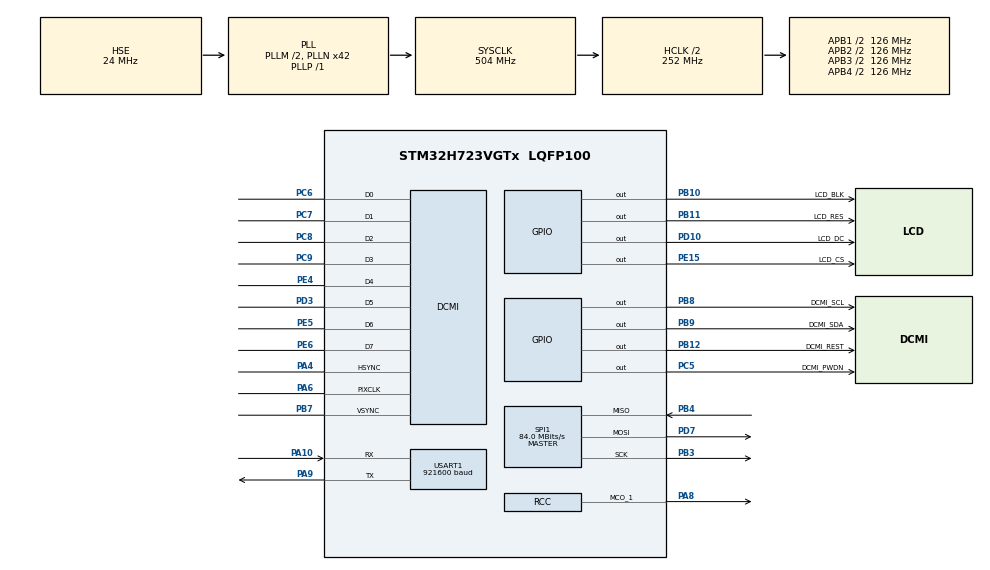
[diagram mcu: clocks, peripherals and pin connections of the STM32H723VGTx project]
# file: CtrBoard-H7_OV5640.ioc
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CORTEX_M7.CPU_DCache=Enabled
CORTEX_M7.CPU_ICache=Enabled
DCMI.JPEGMode=DCMI_JPEG_DISABLE
DCMI.PCKPolarity=DCMI_PCKPOLARITY_RISING
DCMI.VSPolarity=DCMI_VSPOLARITY_LOW
Dma.DCMI.0.Direction=DMA_PERIPH_TO_MEMORY
Dma.DCMI.0.EventEnable=DISABLE
Dma.DCMI.0.FIFOMode=DMA_FIFOMODE_ENABLE
Dma.DCMI.0.FIFOThreshold=DMA_FIFO_THRESHOLD_FULL
Dma.DCMI.0.Instance=DMA1_Stream0
Dma.DCMI.0.MemBurst=DMA_MBURST_SINGLE
Dma.DCMI.0.MemDataAlignment=DMA_MDATAALIGN_WORD
Dma.DCMI.0.MemInc=DMA_MINC_ENABLE
Dma.DCMI.0.Mode=DMA_CIRCULAR
Dma.DCMI.0.PeriphBurst=DMA_PBURST_SINGLE
Dma.DCMI.0.PeriphDataAlignment=DMA_PDATAALIGN_WORD
Dma.DCMI.0.PeriphInc=DMA_PINC_DISABLE
Dma.DCMI.0.Polarity=HAL_DMAMUX_REQ_GEN_RISING
Dma.DCMI.0.Priority=DMA_PRIORITY_HIGH
Dma.DCMI.0.RequestNumber=1
Dma.DCMI.0.SignalID=NONE
Dma.DCMI.0.SyncEnable=DISABLE
Dma.DCMI.0.SyncPolarity=HAL_DMAMUX_SYNC_NO_EVENT
Dma.DCMI.0.SyncRequestNumber=1
Dma.DCMI.0.SyncSignalID=NONE
Dma.Request0=DCMI
Dma.Request1=USART1_TX
Dma.Request2=SPI1_TX
Dma.Request3=USART1_RX
Dma.SPI1_TX.2.Direction=DMA_MEMORY_TO_PERIPH
Dma.SPI1_TX.2.EventEnable=DISABLE
Dma.SPI1_TX.2.FIFOMode=DMA_FIFOMODE_DISABLE
Dma.SPI1_TX.2.Instance=DMA2_Stream1
Dma.SPI1_TX.2.MemDataAlignment=DMA_MDATAALIGN_BYTE
Dma.SPI1_TX.2.MemInc=DMA_MINC_ENABLE
Dma.SPI1_TX.2.Mode=DMA_NORMAL
Dma.SPI1_TX.2.PeriphDataAlignment=DMA_PDATAALIGN_BYTE
Dma.SPI1_TX.2.PeriphInc=DMA_PINC_DISABLE
Dma.SPI1_TX.2.Polarity=HAL_DMAMUX_REQ_GEN_RISING
Dma.SPI1_TX.2.Priority=DMA_PRIORITY_MEDIUM
Dma.SPI1_TX.2.RequestNumber=1
Dma.SPI1_TX.2.SignalID=NONE
Dma.SPI1_TX.2.SyncEnable=DISABLE
Dma.SPI1_TX.2.SyncPolarity=HAL_DMAMUX_SYNC_NO_EVENT
Dma.SPI1_TX.2.SyncRequestNumber=1
Dma.SPI1_TX.2.SyncSignalID=NONE
Dma.USART1_RX.3.Direction=DMA_PERIPH_TO_MEMORY
Dma.USART1_RX.3.EventEnable=DISABLE
Dma.USART1_RX.3.FIFOMode=DMA_FIFOMODE_DISABLE
Dma.USART1_RX.3.Instance=DMA1_Stream3
Dma.USART1_RX.3.MemDataAlignment=DMA_MDATAALIGN_BYTE
Dma.USART1_RX.3.MemInc=DMA_MINC_ENABLE
Dma.USART1_RX.3.Mode=DMA_NORMAL
Dma.USART1_RX.3.PeriphDataAlignment=DMA_PDATAALIGN_BYTE
Dma.USART1_RX.3.PeriphInc=DMA_PINC_DISABLE
Dma.USART1_RX.3.Polarity=HAL_DMAMUX_REQ_GEN_RISING
Dma.USART1_RX.3.Priority=DMA_PRIORITY_LOW
Dma.USART1_RX.3.RequestNumber=1
Dma.USART1_RX.3.SignalID=NONE
Dma.USART1_RX.3.SyncEnable=DISABLE
Dma.USART1_RX.3.SyncPolarity=HAL_DMAMUX_SYNC_NO_EVENT
Dma.USART1_RX.3.SyncRequestNumber=1
Dma.USART1_RX.3.SyncSignalID=NONE
Dma.USART1_TX.1.Direction=DMA_MEMORY_TO_PERIPH
Dma.USART1_TX.1.EventEnable=DISABLE
Dma.USART1_TX.1.FIFOMode=DMA_FIFOMODE_DISABLE
Dma.USART1_TX.1.Instance=DMA1_Stream1
Dma.USART1_TX.1.MemDataAlignment=DMA_MDATAALIGN_BYTE
Dma.USART1_TX.1.MemInc=DMA_MINC_ENABLE
Dma.USART1_TX.1.Mode=DMA_NORMAL
Dma.USART1_TX.1.PeriphDataAlignment=DMA_PDATAALIGN_BYTE
Dma.USART1_TX.1.PeriphInc=DMA_PINC_DISABLE
Dma.USART1_TX.1.Polarity=HAL_DMAMUX_REQ_GEN_RISING
Dma.USART1_TX.1.Priority=DMA_PRIORITY_LOW
Dma.USART1_TX.1.RequestNumber=1
Dma.USART1_TX.1.SignalID=NONE
Dma.USART1_TX.1.SyncEnable=DISABLE
Dma.USART1_TX.1.SyncPolarity=HAL_DMAMUX_SYNC_NO_EVENT
Dma.USART1_TX.1.SyncRequestNumber=1
Dma.USART1_TX.1.SyncSignalID=NONE
Mcu.Family=STM32H7
Mcu.Name=STM32H723VGTx
Mcu.Package=LQFP100
NVIC.DCMI_PSSI_IRQn=true\:0\:0\:false\:false\:true\:true\:true\:true
NVIC.DMA1_Stream0_IRQn=true\:0\:0\:false\:false\:true\:false\:true\:true
NVIC.DMA1_Stream1_IRQn=true\:0\:0\:false\:false\:true\:false\:true\:true
NVIC.DMA1_Stream3_IRQn=true\:0\:0\:false\:false\:true\:false\:true\:true
NVIC.DMA2_Stream1_IRQn=true\:0\:0\:false\:false\:true\:false\:true\:true
NVIC.PriorityGroup=NVIC_PRIORITYGROUP_4
NVIC.SPI1_IRQn=true\:2\:0\:true\:false\:true\:true\:true\:true
PA10.Mode=Asynchronous
PA10.Signal=USART1_RX
PA13(JTMS/SWDIO).Mode=Serial_Wire
PA13(JTMS/SWDIO).Signal=DEBUG_JTMS-SWDIO
PA14(JTCK/SWCLK).Mode=Serial_Wire
PA14(JTCK/SWCLK).Signal=DEBUG_JTCK-SWCLK
PA4.GPIO_Speed=GPIO_SPEED_FREQ_VERY_HIGH
PA4.Mode=Slave_8_bits_External_Synchro
PA4.Signal=DCMI_HSYNC
PA6.GPIO_Speed=GPIO_SPEED_FREQ_VERY_HIGH
PA6.Mode=Slave_8_bits_External_Synchro
PA6.Signal=DCMI_PIXCLK
PA8.Mode=Clock-out-1
PA8.Signal=RCC_MCO_1
PA9.Mode=Asynchronous
PA9.Signal=USART1_TX
PB10.GPIO_Label=LCD_BLK
PB10.Signal=GPIO_Output
PB11.GPIO_Label=LCD_RES
PB11.Signal=GPIO_Output
PB12.GPIO_Label=DCMI_REST
PB12.GPIO_PuPd=GPIO_PULLUP
PB12.GPIO_Speed=GPIO_SPEED_FREQ_VERY_HIGH
PB12.PinState=GPIO_PIN_SET
PB12.Signal=GPIO_Output
PB3(JTDO/TRACESWO).GPIO_PuPd=GPIO_PULLUP
PB3(JTDO/TRACESWO).GPIO_Speed=GPIO_SPEED_FREQ_VERY_HIGH
PB3(JTDO/TRACESWO).Mode=Full_Duplex_Master
PB3(JTDO/TRACESWO).Signal=SPI1_SCK
PB4(NJTRST).GPIO_PuPd=GPIO_PULLUP
PB4(NJTRST).GPIO_Speed=GPIO_SPEED_FREQ_VERY_HIGH
PB4(NJTRST).Mode=Full_Duplex_Master
PB4(NJTRST).Signal=SPI1_MISO
PB7.GPIO_Speed=GPIO_SPEED_FREQ_VERY_HIGH
PB7.Mode=Slave_8_bits_External_Synchro
PB7.Signal=DCMI_VSYNC
PB8.GPIO_Label=DCMI_SCL
PB8.GPIO_ModeDefaultOutputPP=GPIO_MODE_OUTPUT_OD
PB8.GPIO_PuPd=GPIO_PULLUP
PB8.Signal=GPIO_Output
PB9.GPIO_Label=DCMI_SDA
PB9.GPIO_ModeDefaultOutputPP=GPIO_MODE_OUTPUT_OD
PB9.GPIO_PuPd=GPIO_PULLUP
PB9.Signal=GPIO_Output
PC5.GPIO_Label=DCMI_PWDN
PC5.GPIO_PuPd=GPIO_PULLDOWN
PC5.GPIO_Speed=GPIO_SPEED_FREQ_VERY_HIGH
PC5.PinState=GPIO_PIN_SET
PC5.Signal=GPIO_Output
PC6.GPIO_Speed=GPIO_SPEED_FREQ_VERY_HIGH
PC6.Mode=Slave_8_bits_External_Synchro
PC6.Signal=DCMI_D0
PC7.GPIO_Speed=GPIO_SPEED_FREQ_VERY_HIGH
PC7.Mode=Slave_8_bits_External_Synchro
PC7.Signal=DCMI_D1
PC8.GPIO_Speed=GPIO_SPEED_FREQ_VERY_HIGH
PC8.Mode=Slave_8_bits_External_Synchro
PC8.Signal=DCMI_D2
PC9.GPIO_Speed=GPIO_SPEED_FREQ_VERY_HIGH
PC9.Mode=Slave_8_bits_External_Synchro
PC9.Signal=DCMI_D3
PD10.GPIO_Label=LCD_DC
PD10.Signal=GPIO_Output
PD3.GPIO_Speed=GPIO_SPEED_FREQ_VERY_HIGH
PD3.Mode=Slave_8_bits_External_Synchro
PD3.Signal=DCMI_D5
PD7.GPIO_PuPd=GPIO_PULLUP
PD7.GPIO_Speed=GPIO_SPEED_FREQ_VERY_HIGH
PD7.Mode=Full_Duplex_Master
PD7.Signal=SPI1_MOSI
PE15.GPIO_Label=LCD_CS
PE15.Signal=GPIO_Output
PE4.GPIO_Speed=GPIO_SPEED_FREQ_VERY_HIGH
PE4.Mode=Slave_8_bits_External_Synchro
PE4.Signal=DCMI_D4
PE5.GPIO_Speed=GPIO_SPEED_FREQ_VERY_HIGH
PE5.Mode=Slave_8_bits_External_Synchro
PE5.Signal=DCMI_D6
PE6.GPIO_Speed=GPIO_SPEED_FREQ_VERY_HIGH
PE6.Mode=Slave_8_bits_External_Synchro
PE6.Signal=DCMI_D7
PH0-OSC_IN.Mode=HSE-External-Oscillator
PH0-OSC_IN.Signal=RCC_OSC_IN
PH1-OSC_OUT.Mode=HSE-External-Oscillator
PH1-OSC_OUT.Signal=RCC_OSC_OUT
ProjectManager.HeapSize=0x200
ProjectManager.StackSize=0x400
ProjectManager.TargetToolchain=MDK-ARM V5.32
RCC.ADCFreq_Value=48375000
RCC.APB1Freq_Value=126000000
RCC.APB2Freq_Value=126000000
RCC.APB3Freq_Value=126000000
RCC.APB4Freq_Value=126000000
RCC.CortexFreq_Value=504000000
RCC.D1PPRE=RCC_APB3_DIV2
RCC.D2PPRE1=RCC_APB1_DIV2
RCC.D2PPRE2=RCC_APB2_DIV2
RCC.D3PPRE=RCC_APB4_DIV2
RCC.DIVM1=2
RCC.DIVN1=42
RCC.DIVP1=1
RCC.DIVQ1=3
RCC.HCLKFreq_Value=252000000
RCC.HPRE=RCC_HCLK_DIV2
RCC.HSE_VALUE=24000000
RCC.PLLFRACN=0
RCC.PLLSourceVirtual=RCC_PLLSOURCE_HSE
RCC.RCC_MCO1Source=RCC_MCO1SOURCE_HSE
RCC.SYSCLKFreq_VALUE=504000000
RCC.SYSCLKSource=RCC_SYSCLKSOURCE_PLLCLK
RCC.USBFreq_Value=168000000
SPI1.BaudRatePrescaler=SPI_BAUDRATEPRESCALER_2
SPI1.CLKPolarity=SPI_POLARITY_HIGH
SPI1.CalculateBaudRate=84.0 MBits/s
SPI1.DataSize=SPI_DATASIZE_8BIT
SPI1.Direction=SPI_DIRECTION_2LINES
SPI1.Mode=SPI_MODE_MASTER
SPI1.VirtualType=VM_MASTER
USART1.BaudRate=921600
USART1.VirtualMode-Asynchronous=VM_ASYNC
board=custom

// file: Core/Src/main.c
/* USER CODE BEGIN Header */
/**
  ******************************************************************************
  * @file           : main.c
  * @brief          : Main program body
  ******************************************************************************
  * @attention
  *
  * Copyright (c) 2024 STMicroelectronics.
  * All rights reserved.
  *
  * This software is licensed under terms that can be found in the LICENSE file
  * in the root directory of this software component.
  * If no LICENSE file comes with this software, it is provided AS-IS.
  *
  ******************************************************************************
  */
/* USER CODE END Header */
#include "main.h"
#include "dcmi.h"
#include "dma.h"
#include "spi.h"
#include "usart.h"
#include "gpio.h"

/* USER CODE BEGIN Includes */
#include "ov5640.h"
#include "lcd.h"
/* USER CODE END Includes */

void SystemClock_Config(void);

/* USER CODE BEGIN 0 */
void MPU_Config(void)
{
  MPU_Region_InitTypeDef MPU_InitStruct;

  HAL_MPU_Disable(); // 设置之前先禁止MPU

  MPU_InitStruct.Enable 				= MPU_REGION_ENABLE;
  MPU_InitStruct.BaseAddress 			= 0x24000000;
  MPU_InitStruct.Size 					= MPU_REGION_SIZE_512KB;
  MPU_InitStruct.AccessPermission 	= MPU_REGION_FULL_ACCESS;
  MPU_InitStruct.IsBufferable 		= MPU_ACCESS_BUFFERABLE;
  MPU_InitStruct.IsCacheable 			= MPU_ACCESS_CACHEABLE;
  MPU_InitStruct.IsShareable 			= MPU_ACCESS_SHAREABLE;
  MPU_InitStruct.Number 				= MPU_REGION_NUMBER0;
  MPU_InitStruct.TypeExtField 		= MPU_TEX_LEVEL0;
  MPU_InitStruct.SubRegionDisable 	= 0x00;
  MPU_InitStruct.DisableExec 			= MPU_INSTRUCTION_ACCESS_ENABLE;

  HAL_MPU_ConfigRegion(&MPU_InitStruct);

  HAL_MPU_Enable(MPU_PRIVILEGED_DEFAULT);	// 使能MCU

}

#define Camera_Buffer	0x24000000    // 摄像头图像缓冲区
uint8_t temp[Display_Width*Display_Height*2]={0};
/* USER CODE END 0 */

int main(void)
{
  /* USER CODE BEGIN 1 */
//	MPU_Config();				// MPU配置
  /* USER CODE END 1 */
/* Enable the CPU Cache */

  /* Enable I-Cache---------------------------------------------------------*/
  SCB_EnableICache();

  /* Enable D-Cache---------------------------------------------------------*/
  SCB_EnableDCache();

  /* MCU Configuration--------------------------------------------------------*/

  /* Reset of all peripherals, Initializes the Flash interface and the Systick. */
  HAL_Init();

  /* Configure the system clock */
  SystemClock_Config();

  /* Initialize all configured peripherals */
  MX_GPIO_Init();
  MX_DMA_Init();
  MX_DCMI_Init();
  MX_USART1_UART_Init();
  MX_SPI1_Init();
  /* USER CODE BEGIN 2 */
	LCD_Init();//LCD初始化
	LCD_Fill(0,0,LCD_W, LCD_H,BLACK);

	ov5640_init();
	ov5640_af_download_firmware();	// 写入自动对焦固件
	ov5640_af_trigger_constant();		// 自动对焦 ，持续 触发，当OV5640检测到当前画面不在焦点时，会一直触发对焦
//	ov5640_af_trigger_single();		//	自动对焦 ，触发 单次

//	120度和160度的广角镜头默认的方向和带自动对焦的镜头不一样，用户可以根据实际去调整
//	ov5640_set_vertical_flip( OV5640_Disable );		// 取消垂直翻转
//	ov5640_set_horizontal_mirror( OV5640_Enable );	// 水平镜像

	ov5640_send_continuous(Camera_Buffer, Display_BufferSize);  // 启动DMA连续传输
  /* USER CODE END 2 */

  /* Infinite loop */
  /* USER CODE BEGIN WHILE */
  while (1)
  {
		if (OV5640_FrameState == 1)	// 采集到了一帧图像
		{
        LCD_ShowPicture(0,0,Display_Width,Display_Height, (uint8_t *)Camera_Buffer);	// 将图像数据复制到屏幕
  			OV5640_FrameState = 0;		// 清零标志位
				//LCD_ShowString( 84 ,240,"FPS:");
				//LCD_ShowIntNum( 132,240, OV5640_FPS,2) ;	// 显示帧率
		}
    /* USER CODE END WHILE */

  }
}

void SystemClock_Config(void)
{
  RCC_OscInitTypeDef RCC_OscInitStruct = {0};
  RCC_ClkInitTypeDef RCC_ClkInitStruct = {0};

  /** Supply configuration update enable
  */
  HAL_PWREx_ConfigSupply(PWR_LDO_SUPPLY);

  /** Configure the main internal regulator output voltage
  */
  __HAL_PWR_VOLTAGESCALING_CONFIG(PWR_REGULATOR_VOLTAGE_SCALE0);

  while(!__HAL_PWR_GET_FLAG(PWR_FLAG_VOSRDY)) {}

  /** Initializes the RCC Oscillators according to the specified parameters
  * in the RCC_OscInitTypeDef structure.
  */
  RCC_OscInitStruct.OscillatorType = RCC_OSCILLATORTYPE_HSE;
  RCC_OscInitStruct.HSEState = RCC_HSE_ON;
  RCC_OscInitStruct.PLL.PLLState = RCC_PLL_ON;
  RCC_OscInitStruct.PLL.PLLSource = RCC_PLLSOURCE_HSE;
  RCC_OscInitStruct.PLL.PLLM = 2;
  RCC_OscInitStruct.PLL.PLLN = 42;
  RCC_OscInitStruct.PLL.PLLP = 1;
  RCC_OscInitStruct.PLL.PLLQ = 3;
  RCC_OscInitStruct.PLL.PLLR = 2;
  RCC_OscInitStruct.PLL.PLLRGE = RCC_PLL1VCIRANGE_3;
  RCC_OscInitStruct.PLL.PLLVCOSEL = RCC_PLL1VCOWIDE;
  RCC_OscInitStruct.PLL.PLLFRACN = 0;
  if (HAL_RCC_OscConfig(&RCC_OscInitStruct) != HAL_OK)
  {
    Error_Handler();
  }

  /** Initializes the CPU, AHB and APB buses clocks
  */
  RCC_ClkInitStruct.ClockType = RCC_CLOCKTYPE_HCLK|RCC_CLOCKTYPE_SYSCLK
                              |RCC_CLOCKTYPE_PCLK1|RCC_CLOCKTYPE_PCLK2
                              |RCC_CLOCKTYPE_D3PCLK1|RCC_CLOCKTYPE_D1PCLK1;
  RCC_ClkInitStruct.SYSCLKSource = RCC_SYSCLKSOURCE_PLLCLK;
  RCC_ClkInitStruct.SYSCLKDivider = RCC_SYSCLK_DIV1;
  RCC_ClkInitStruct.AHBCLKDivider = RCC_HCLK_DIV2;
  RCC_ClkInitStruct.APB3CLKDivider = RCC_APB3_DIV2;
  RCC_ClkInitStruct.APB1CLKDivider = RCC_APB1_DIV2;
  RCC_ClkInitStruct.APB2CLKDivider = RCC_APB2_DIV2;
  RCC_ClkInitStruct.APB4CLKDivider = RCC_APB4_DIV2;

  if (HAL_RCC_ClockConfig(&RCC_ClkInitStruct, FLASH_LATENCY_3) != HAL_OK)
  {
    Error_Handler();
  }
  HAL_RCC_MCOConfig(RCC_MCO1, RCC_MCO1SOURCE_HSE, RCC_MCODIV_1);
}

void Error_Handler(void)
{
  __disable_irq();
  while (1)
  {
  }
}
